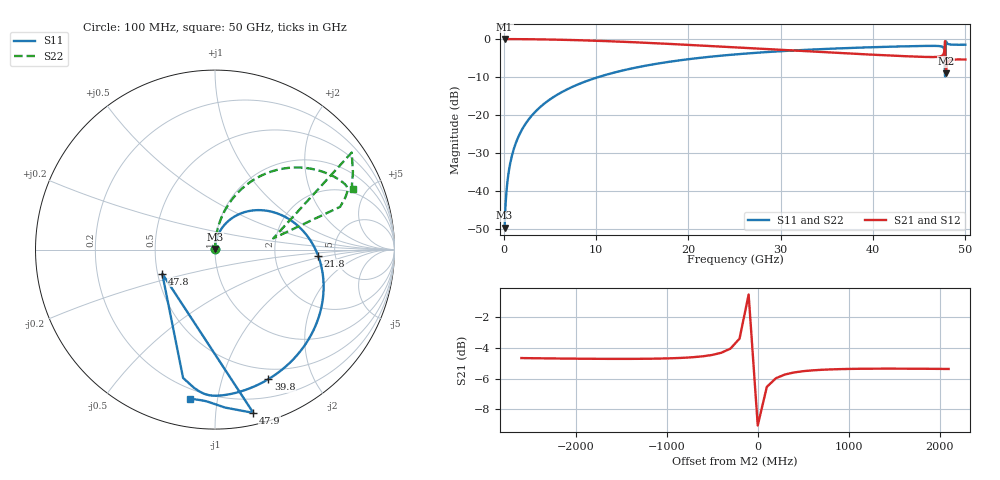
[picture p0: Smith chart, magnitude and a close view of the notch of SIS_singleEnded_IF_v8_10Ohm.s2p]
! Touchstone file from project
# GHZ S MA R 10.000000
! Modal data exported
! Port[1] = IF_output:1
! Port[2] = RF_input:1
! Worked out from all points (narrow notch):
!   500 points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, 100 MHz to 50 GHz, reference 10 ohm
!   highest |S21| = 0.00 dB at 100 MHz (marker M1); lowest = -9.0 dB at 47.9 GHz (marker M2)
!   notch at M2: 6.9 dB deep, 439 MHz wide at half that depth
!   lowest |S11| = -49.6 dB at 100 MHz (marker M3), VSWR 1.01, Z = 10 + j0.0656 ohm
!   |S11| at or under -10 dB: start of sweep to 10.25 GHz
!   |S22| runs from -49.6 to -0.6 dB; largest |S21 - S12| = 0
!   S11 on the Smith chart (normalised r, x): 100 MHz: 1.00, +0.01; 21.8 GHz: 3.67, -0.39; 39.8 GHz: 0.38, -1.42; 47.8 GHz: 0.53, -0.16; 47.9 GHz: 0.09, -1.26; 50 GHz: 0.15, -0.84
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0.1  0.0033 83.6  1 -0.3  1 -0.3  0.003295 94.9
! Gamma 0.000000E+000 4.003283E+000 0.000000E+000 0.000000E+000
! Port Impedance 1.000000E+001 0.000000E+000 1.000000E+001 0.000000E+000
0.5  0.01639 86.7  0.9998 -1.6  0.9998 -1.6  0.01636 89.8
0.8  0.02617 85.9  0.9996 -2.6  0.9996 -2.6  0.02612 88.8
1.3  0.04238 83.9  0.999 -4.3  0.999 -4.3  0.04236 87.6
2.1  0.06819 80.4  0.9976 -6.9  0.9976 -6.9  0.06827 85.9
4.6  0.1479 69.0  0.9888 -15.1  0.9888 -15.1  0.1481 80.8
8.5  0.2665 51.6  0.9636 -27.6  0.9636 -27.6  0.2666 73.1
16.8  0.4786 16.4  0.8777 -52.5  0.8777 -52.5  0.4785 58.6
21.8  0.576 -3.5  0.8171 -66.2  0.8171 -66.2  0.576 51.0
25.1  0.6288 -16.1  0.7772 -74.7  0.7772 -74.7  0.6287 46.6
33.4  0.7286 -46.0  0.6847 -94.4  0.6847 -94.4  0.7285 37.1
39.8  0.7809 -67.7  0.6244 -108.3  0.6244 -108.3  0.7807 31.1
41.7  0.7931 -74.0  0.6088 -112.2  0.6088 -112.2  0.793 29.5
47  0.8118 -92.3  0.5837 -123.9  0.5837 -123.9  0.8117 24.5
47.5  0.794 -96.4  0.6076 -126.8  0.6076 -126.8  0.794 22.7
47.6  0.7789 -98.6  0.6266 -128.5  0.6266 -128.5  0.779 21.6
47.8  0.323 -155.6  0.9384 -163.2  0.9384 -163.2  0.3308 10.9
47.9  0.9344 -76.8  0.353 -110.9  0.353 -110.9  0.9341 35.4
48  0.8819 -86.3  0.4707 -118.5  0.4707 -118.5  0.8816 29.3
48.1  0.8645 -89.3  0.5023 -120.9  0.5023 -120.9  0.8642 27.6
48.5  0.8462 -93.4  0.5327 -123.9  0.5327 -123.9  0.846 25.6
50  0.8426 -99.4  0.5383 -127.8  0.5383 -127.8  0.8425 23.7
